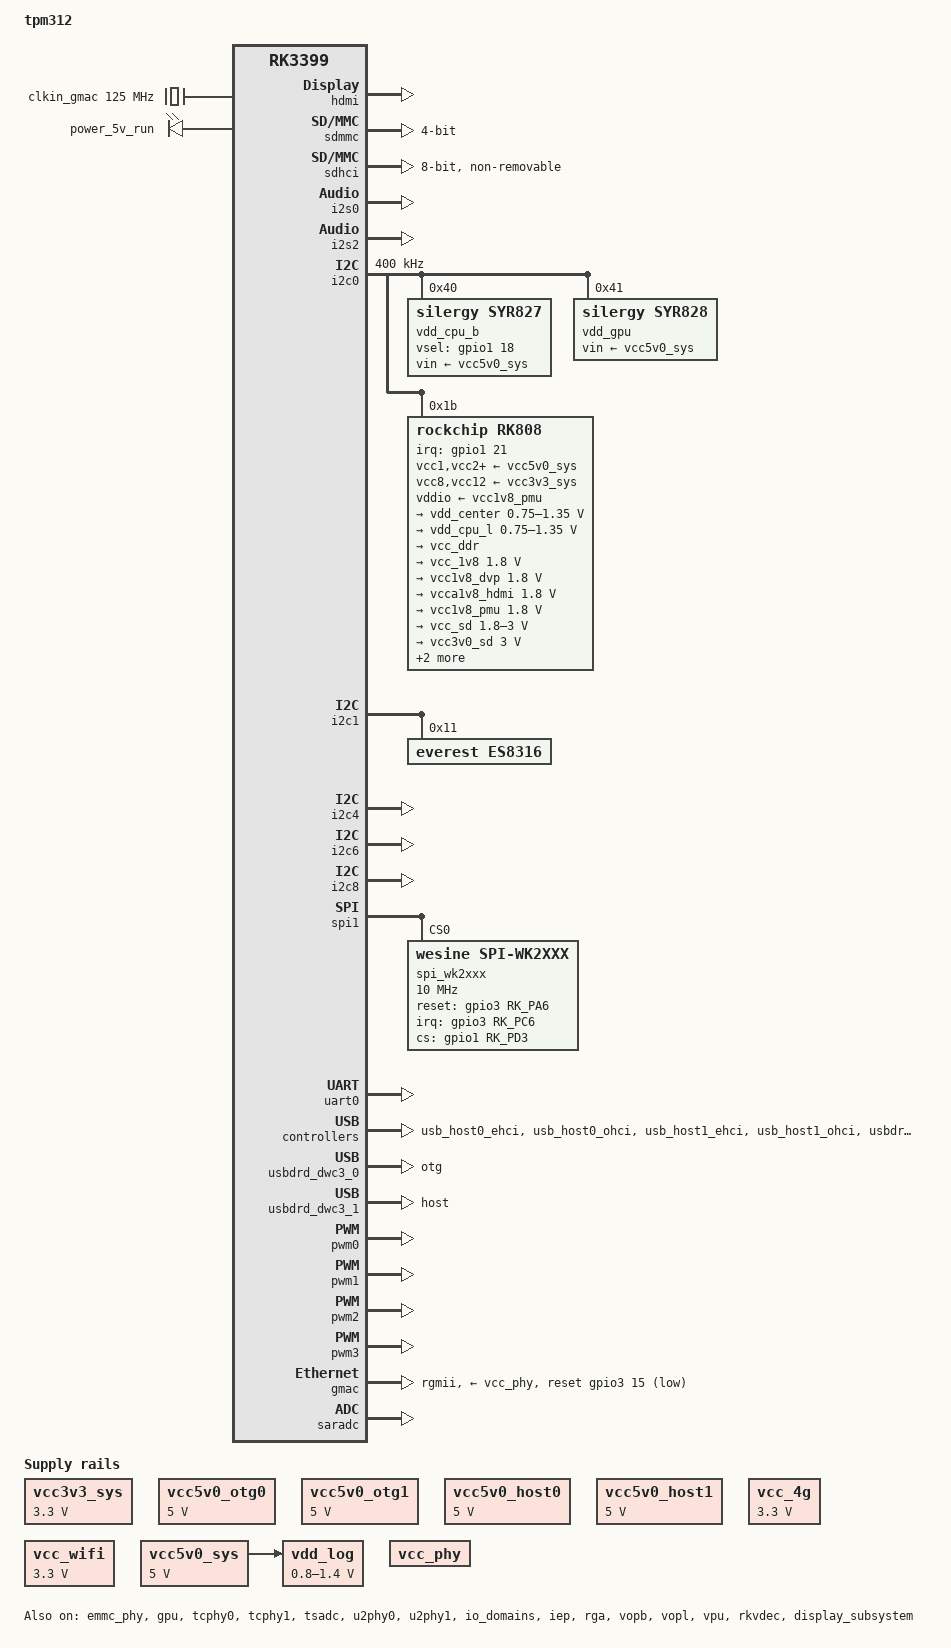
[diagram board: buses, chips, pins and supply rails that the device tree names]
/dts-v1/;

#include <dt-bindings/pwm/pwm.h>
#include <dt-bindings/input/input.h>
#include "rk3399.dtsi"
#include "rk3399-opp.dtsi"
#include "rk3399-vop-clk-set.dtsi"

/ {
	model = "tpm312";
	compatible = "rockchip,rk3399-w6-lvds","rockchip,rk3399";

	chosen {
		bootargs = "earlycon=uart8250,mmio32,0xff1a0000 swiotlb=1";
		stdout-path = "serial2:1500000n8";
	};

	reserved-memory {
		#address-cells = <2>;
		#size-cells = <2>;
		ranges;

		drm_logo: drm-logo@00000000 {
			compatible = "rockchip,drm-logo";
			reg = <0x0 0x0 0x0 0x0>;
		};
	};

	vcc3v3_sys: vcc3v3-sys {
		compatible = "regulator-fixed";
		regulator-name = "vcc3v3_sys";
		regulator-always-on;
		regulator-boot-on;
		regulator-min-microvolt = <3300000>;
		regulator-max-microvolt = <3300000>;
	};

	vcc5v0_otg0: vcc5v0-otg0-regulator {
		compatible = "regulator-fixed";
		enable-active-high;
		gpio = <0x30 0x00 0x00>;
		pinctrl-names = "default";
		pinctrl-0 = <&otg0_vbus_drv>;
		regulator-name = "vcc5v0_otg0";
		regulator-always-on;
		regulator-min-microvolt = <5000000>;
		regulator-max-microvolt = <5000000>;
	};

	vcc5v0_otg1: vcc5v0-otg1-regulator {
		compatible = "regulator-fixed";
		enable-active-high;
		gpio = <0x37 0x1d 0x00>;
		pinctrl-names = "default";
		pinctrl-0 = <&otg1_vbus_drv>;
		regulator-name = "vcc5v0_otg1";
		regulator-always-on;
		regulator-min-microvolt = <5000000>;
		regulator-max-microvolt = <5000000>;
	};

	vcc5v0_host0: vcc5v0-host0-regulator {
		compatible = "regulator-fixed";
		enable-active-high;
		gpio = <0x37 0x1a 0x00>;
		pinctrl-names = "default";
		pinctrl-0 = <&host0_vbus_drv>;
		regulator-name = "vcc5v0_host0";
		regulator-always-on;
		regulator-min-microvolt = <5000000>;
		regulator-max-microvolt = <5000000>;
	};

	vcc5v0_host1: vcc5v0-host1-regulator {
		compatible = "regulator-fixed";
		enable-active-high;
		gpio = <0x18 0x1e 0x00>;
		pinctrl-names = "default";
		pinctrl-0 = <&host1_vbus_drv>;
		regulator-name = "vcc5v0_host1";
		regulator-always-on;
		regulator-min-microvolt = <5000000>;
		regulator-max-microvolt = <5000000>;
	};

	vcc_4g: vcc-4g {
		compatible = "regulator-fixed";
		enable-active-high;
		gpio = <0xce 0x02 0x00>;
		pinctrl-names = "default";
		pinctrl-0 = <0xcf>;
		regulator-name = "vcc_4g";
		regulator-always-on;
		regulator-boot-on;
		regulator-min-microvolt = <3300000>;
		regulator-max-microvolt = <3300000>;
	};

	vcc_wifi: vcc-wifi {
		compatible = "regulator-fixed";
		enable-active-high;
		gpio = <0xce 0x03 0x00>;
		pinctrl-names = "default";
		pinctrl-0 = <0xd1>;
		regulator-name = "vcc_wifi";
		regulator-always-on;
		regulator-min-microvolt = <3300000>;
		regulator-max-microvolt = <3300000>;
	};

	vcc5v0_sys: vcc5v0-sys {
		compatible = "regulator-fixed";
		regulator-name = "vcc5v0_sys";
		regulator-always-on;
		regulator-boot-on;
		regulator-min-microvolt = <5000000>;
		regulator-max-microvolt = <5000000>;
	};

	vcc_phy: vcc-phy-regulator {
		compatible = "regulator-fixed";
		regulator-name = "vcc_phy";
		regulator-always-on;
		regulator-boot-on;
	};

	vdd_log: vdd-log {
		compatible = "pwm-regulator";
		pwms = <&pwm2 0 25000 1>;
		regulator-name = "vdd_log";
		regulator-min-microvolt = <800000>;
		regulator-max-microvolt = <1400000>;
		regulator-always-on;
		regulator-boot-on;

		/* for rockchip boot on */
		rockchip,pwm_id= <2>;
		rockchip,pwm_voltage = <900000>;
		vin-supply = <&vcc5v0_sys>;
	};

	clkin_gmac: external-gmac-clock {
		compatible = "fixed-clock";
		clock-frequency = <125000000>;
		clock-output-names = "clkin_gmac";
		#clock-cells = <0>;
	};

	es8316-sound {
		compatible = "simple-audio-card";
		simple-audio-card,format = "i2s";
		simple-audio-card,name = "rockchip,es8316-codec";
		simple-audio-card,mclk-fs = <256>;
		simple-audio-card,widgets =
			"Microphone", "Mic Jack",
			"Headphone", "Headphone Jack";
		simple-audio-card,routing =
			"Mic Jack", "MICBIAS1",
			"IN1P", "Mic Jack",
			"Headphone Jack", "HPOL",
			"Headphone Jack", "HPOR";
		simple-audio-card,cpu {
			sound-dai = <&i2s0>;
		};
		simple-audio-card,codec {
			sound-dai = <&es8316>;
		};
	};

	hdmi_codec: hdmi-codec {
		compatible = "simple-audio-card";
		simple-audio-card,format = "i2s";
		simple-audio-card,mclk-fs = <256>;
		simple-audio-card,name = "HDMI-CODEC";

		simple-audio-card,cpu {
			sound-dai = <&i2s2>;
		};

		simple-audio-card,codec {
			sound-dai = <&hdmi>;
		};
	};

	fiq-debugger {
		compatible = "rockchip,fiq-debugger";
		rockchip,serial-id = <0x02>;
		rockchip,wake-irq = <0x00>;
		rockchip,irq-mode-enable = <0x00>;
		rockchip,baudrate = <0x16e360>;
		pinctrl-names = "default";
		pinctrl-0 = <0x3f>;
		interrupts = <0x00 0x96 0x04 0x00>;
	};

	leds {
		compatible = "gpio-leds";
		power5v-led {
			gpios = <0x30 0x17 0x00>;
			default-state = "on";
			label = "power_5v_run";
		};
	};

	wesine-gpio {
		compatible = "wesine,rk3399-gpio";
		pinctrl-names = "default";
		pinctrl-0 = <0xc6 0xc7 0xc8>;
		usb1_en = <0x37 0x1c 0x00>;
		usb2_en = <0x30 0x03 0x00>;
		usb3_en = <0x37 0x1e 0x00>;
		usb4_en = <0x37 0x15 0x00>;
		usb5_en = <0x37 0x18 0x00>;
		usb6_en = <0x30 0x02 0x00>;
		wk2_rst = <0x83 0x12 0x01>;
		gprs_rst = <0x30 0x04 0x01>;
		status = "okay";
	};

	test-power {
		status = "okay";
	};

};

&hdmi {
	#address-cells = <1>;
	#size-cells = <0>;
	#sound-dai-cells = <0>;
	status = "okay";
};

&sdmmc {
	max-frequency = <150000000>;
	supports-sd;
	bus-width = <4>;
	cap-mmc-highspeed;
	cap-sd-highspeed;
	disable-wp;
	num-slots = <1>;
	vqmmc-supply = <&vcc_sd>;
	pinctrl-names = "default";
	pinctrl-0 = <&sdmmc_clk &sdmmc_cmd &sdmmc_cd &sdmmc_bus4>;
	status = "okay";
};

&emmc_phy {
	status = "okay";
};

&sdhci {
	bus-width = <8>;
	mmc-hs400-1_8v;
	supports-emmc;
	non-removable;
	mmc-hs400-enhanced-strobe;
	status = "okay";
};

&i2s0 {
	status = "okay";
	rockchip,i2s-broken-burst-len;
	rockchip,playback-channels = <8>;
	rockchip,capture-channels = <8>;
	#sound-dai-cells = <0>;
};

&i2s2 {
	status = "okay";
	#sound-dai-cells = <0>;
};

&i2c0 {
	status = "okay";
	i2c-scl-rising-time-ns = <168>;
	i2c-scl-falling-time-ns = <4>;
	clock-frequency = <400000>;

	vdd_cpu_b: syr827@40 {
		compatible = "silergy,syr827";
		reg = <0x40>;
		vin-supply = <&vcc5v0_sys>;
		regulator-compatible = "fan53555-reg";
		regulator-name = "vdd_cpu_b";
		regulator-min-microvolt = <712500>;
		regulator-max-microvolt = <1500000>;
		regulator-ramp-delay = <1000>;
		vsel-gpios = <&gpio1 18 GPIO_ACTIVE_HIGH>;
		fcs,suspend-voltage-selector = <1>;
		regulator-always-on;
		regulator-boot-on;
		regulator-initial-state = <3>;
			regulator-state-mem {
			regulator-off-in-suspend;
		};
	};

	vdd_gpu: syr828@41 {
		compatible = "silergy,syr828";
		reg = <0x41>;
		vin-supply = <&vcc5v0_sys>;
		regulator-compatible = "fan53555-reg";
		regulator-name = "vdd_gpu";
		regulator-min-microvolt = <712500>;
		regulator-max-microvolt = <1500000>;
		regulator-ramp-delay = <1000>;
		fcs,suspend-voltage-selector = <1>;
		regulator-always-on;
		regulator-boot-on;
		regulator-initial-state = <3>;
			regulator-state-mem {
			regulator-off-in-suspend;
		};
	};

	rk808: pmic@1b {
		compatible = "rockchip,rk808";
		reg = <0x1b>;
		interrupt-parent = <&gpio1>;
		interrupts = <21 IRQ_TYPE_LEVEL_LOW>;
		pinctrl-names = "default";
		pinctrl-0 = <&pmic_int_l>;
		rockchip,system-power-controller;
		wakeup-source;
		#clock-cells = <1>;
		clock-output-names = "xin32k", "rk808-clkout2";

		vcc1-supply = <&vcc5v0_sys>;
		vcc2-supply = <&vcc5v0_sys>;
		vcc3-supply = <&vcc5v0_sys>;
		vcc4-supply = <&vcc5v0_sys>;
		vcc6-supply = <&vcc5v0_sys>;
		vcc7-supply = <&vcc5v0_sys>;
		vcc8-supply = <&vcc3v3_sys>;
		vcc9-supply = <&vcc5v0_sys>;
		vcc10-supply = <&vcc5v0_sys>;
		vcc11-supply = <&vcc5v0_sys>;
		vcc12-supply = <&vcc3v3_sys>;
		vddio-supply = <&vcc1v8_pmu>;

		regulators {
			vdd_center: DCDC_REG1 {
				regulator-name = "vdd_center";
				regulator-min-microvolt = <750000>;
				regulator-max-microvolt = <1350000>;
				regulator-ramp-delay = <6001>;
				regulator-always-on;
				regulator-boot-on;
				regulator-state-mem {
					regulator-off-in-suspend;
				};
			};

			vdd_cpu_l: DCDC_REG2 {
				regulator-name = "vdd_cpu_l";
				regulator-min-microvolt = <750000>;
				regulator-max-microvolt = <1350000>;
				regulator-ramp-delay = <6001>;
				regulator-always-on;
				regulator-boot-on;
				regulator-state-mem {
					regulator-off-in-suspend;
				};
			};

			vcc_ddr: DCDC_REG3 {
				regulator-name = "vcc_ddr";
				regulator-always-on;
				regulator-boot-on;
				regulator-state-mem {
					regulator-on-in-suspend;
				};
			};

			vcc_1v8: DCDC_REG4 {
				regulator-name = "vcc_1v8";
				regulator-min-microvolt = <1800000>;
				regulator-max-microvolt = <1800000>;
				regulator-always-on;
				regulator-boot-on;
				regulator-state-mem {
					regulator-on-in-suspend;
					regulator-suspend-microvolt = <1800000>;
				};
			};

			vcc1v8_dvp: LDO_REG1 {
				regulator-name = "vcc1v8_codec";
				regulator-min-microvolt = <1800000>;
				regulator-max-microvolt = <1800000>;
				regulator-always-on;
				regulator-boot-on;
				regulator-state-mem {
					regulator-on-in-suspend;
					regulator-suspend-microvolt = <1800000>;
				};
			};

			vcca1v8_hdmi: LDO_REG2 {
				regulator-name = "vcca1v8_hdmi";
				regulator-min-microvolt = <1800000>;
				regulator-max-microvolt = <1800000>;
				regulator-always-on;
				regulator-boot-on;
				regulator-state-mem {
					regulator-on-in-suspend;
					regulator-suspend-microvolt = <1800000>;
				};
			};

			vcc1v8_pmu: LDO_REG3 {
				regulator-always-on;
				regulator-boot-on;
				regulator-min-microvolt = <1800000>;
				regulator-max-microvolt = <1800000>;
				regulator-name = "vcc1v8_pmu";
				regulator-state-mem {
					regulator-on-in-suspend;
					regulator-suspend-microvolt = <1800000>;
				};
			};

			vcc_sd: LDO_REG4 {
				regulator-name = "vcc_sd";
				regulator-min-microvolt = <1800000>;
				regulator-max-microvolt = <3000000>;
				regulator-always-on;
				regulator-boot-on;
				regulator-state-mem {
					regulator-on-in-suspend;
					regulator-suspend-microvolt = <3000000>;
				};
			};

			vcc3v0_sd: LDO_REG5 {
				regulator-name = "vcc3v0_sd";
				regulator-min-microvolt = <3000000>;
				regulator-max-microvolt = <3000000>;
				regulator-always-on;
				regulator-boot-on;
				regulator-state-mem {
					regulator-on-in-suspend;
					regulator-suspend-microvolt = <3000000>;
				};
			};

			vcc_1v5: LDO_REG6 {
				regulator-name = "vcc_1v5";
				regulator-min-microvolt = <1500000>;
				regulator-max-microvolt = <1500000>;
				regulator-always-on;
				regulator-boot-on;
				regulator-state-mem {
					regulator-on-in-suspend;
					regulator-suspend-microvolt = <1500000>;
				};
			};

			vcca0v9_hdmi: LDO_REG7 {
				regulator-name = "vcca0v9_hdmi";
				regulator-min-microvolt = <900000>;
				regulator-max-microvolt = <900000>;
				regulator-always-on;
				regulator-boot-on;
				regulator-state-mem {
					regulator-on-in-suspend;
					regulator-suspend-microvolt = <900000>;
				};
			};

			vcc_3v0: LDO_REG8 {
				regulator-name = "vcc_3v0";
				regulator-min-microvolt = <3000000>;
				regulator-max-microvolt = <3000000>;
				regulator-always-on;
				regulator-boot-on;
				regulator-state-mem {
					regulator-on-in-suspend;
					regulator-suspend-microvolt = <3000000>;
				};
			};

			vcc3v3_s3: SWITCH_REG1 {
				regulator-name = "vcc3v3_s3";
				regulator-always-on;
				regulator-boot-on;
				regulator-state-mem {
					regulator-on-in-suspend;
				};
			};

			vcc3v3_s0: SWITCH_REG2 {
				regulator-name = "vcc3v3_s0";
				regulator-always-on;
				regulator-boot-on;
				regulator-state-mem {
					regulator-on-in-suspend;
				};
			};
		};
	};
};

&i2c1 {
	status = "okay";
	i2c-scl-rising-time-ns = <300>;
	i2c-scl-falling-time-ns = <15>;

	es8316: es8316@11 {
		#sound-dai-cells = <0>;
		compatible = "everest,es8316";
		reg = <0x11>;
		clocks = <&cru SCLK_I2S_8CH_OUT>;
		clock-names = "mclk";
		pinctrl-names = "default";
		pinctrl-0 = <&i2s_8ch_mclk>;
	};

};

&i2c4 {
	status = "okay";
	i2c-scl-rising-time-ns = <600>;
	i2c-scl-falling-time-ns = <20>;

	mpu6050: mpu@68 {
	status = "disabled";
	compatible = "invensense,mpu6050";
	reg = <0x68>;
	mpu-int_config = <0x10>;
	mpu-level_shifter = <0>;
	mpu-orientation = <0 1 0 1 0 0 0 0 1>;
	orientation-x= <1>;
	orientation-y= <1>;
	orientation-z= <1>;
	irq-gpio = <&gpio1 10 IRQ_TYPE_LEVEL_LOW>;
	mpu-debug = <1>;
	};
};

&i2c6 {
	status = "okay";
};

&i2c8 {
	status = "okay";
};

&spi1 {
	status = "okay";
	max-freq = <48000000>;
	dev-port = <0>;
	pinctrl-0 = <0x4c>;
	num-cs = <1>;

	spi_wk2xxx: spi_wk2xxx@00{
		status = "okay";
		compatible = "wesine,spi-wk2xxx";
		reg = <0x00>;
		spi-max-frequency = <10000000>;
		//power-gpio = <&gpio2 4 GPIO_ACTIVE_HIGH>;
		reset-gpio = <&gpio3 RK_PA6 GPIO_ACTIVE_HIGH>;
		irq-gpio = <&gpio3 RK_PC6 IRQ_TYPE_EDGE_FALLING>;
		cs-gpio = <&gpio1 RK_PD3 GPIO_ACTIVE_HIGH>;

		//pinctrl-0 = <&reset_gpios>,<&irq_gpios>,<&cs_gpios>;
		//pinctrl-names = "default";
	};
};

&cpu_l0 {
	cpu-supply = <&vdd_cpu_l>;
};

&cpu_l1 {
	cpu-supply = <&vdd_cpu_l>;
};

&cpu_l2 {
	cpu-supply = <&vdd_cpu_l>;
};

&cpu_l3 {
	cpu-supply = <&vdd_cpu_l>;
};

&cpu_b0 {
	cpu-supply = <&vdd_cpu_b>;
};

&cpu_b1 {
	cpu-supply = <&vdd_cpu_b>;
};

&gpu {
	status = "okay";
	mali-supply = <&vdd_gpu>;
};

&tcphy0 {
	status = "okay";
};

&tcphy1 {
	status = "okay";
};

&tsadc {
	/* tshut mode 0:CRU 1:GPIO */
	rockchip,hw-tshut-mode = <1>;
	/* tshut polarity 0:LOW 1:HIGH */
	rockchip,hw-tshut-polarity = <1>;
	rockchip,hw-tshut-temp = <110000>;
	status = "okay";
};

&emmc_phy {
	status = "okay";
};

&u2phy0 {
	status = "okay";
	enable-active-high;
	/* otg-vbus-gpios = <&gpio1 3 GPIO_ACTIVE_HIGH>;*/
	gpio = <&gpio1 3 GPIO_ACTIVE_HIGH>;

	u2phy0_otg: otg-port {
		status = "okay";
	};

	u2phy0_host: host-port {
		phy-supply = <&vcc5v0_host0>;
		status = "okay";
	};
};

&u2phy1 {
	status = "okay";

	u2phy1_otg: otg-port {
		status = "okay";
	};

	u2phy1_host: host-port {
		phy-supply = <&vcc5v0_host1>;
		status = "okay";
	};
};

&uart0 {
	pinctrl-names = "default";
	pinctrl-0 = <&uart0_xfer>;
	status = "okay";
};

&usb_host0_ehci {
	status = "okay";
};

&usb_host0_ohci {
	status = "okay";
};

&usb_host1_ehci {
	status = "okay";
};

&usb_host1_ohci {
	status = "okay";
};

&usbdrd3_0 {
	extcon = <&u2phy0>;
	status = "okay";
};

&usbdrd_dwc3_0 {
	dr_mode = "otg";
	status = "okay";
};

&usbdrd3_1 {
	status = "okay";
};

&usbdrd_dwc3_1 {
	dr_mode = "host";
	status = "okay";
};

&pwm0 {
	status = "okay";
};

&pwm1 {
	status = "okay";
};

&pwm2 {
	status = "okay";
};

&pwm3 {
	status = "okay";
};

&gmac {
	phy-supply = <&vcc_phy>;
	phy-mode = "rgmii";
	clock_in_out = "input";
	snps,reset-gpio = <&gpio3 15 GPIO_ACTIVE_LOW>;
	snps,reset-active-low;
	snps,reset-delays-us = <0 10000 50000>;
	assigned-clocks = <&cru SCLK_RMII_SRC>;
	assigned-clock-parents = <&clkin_gmac>;
	pinctrl-names = "default";
	pinctrl-0 = <&rgmii_pins>;
	tx_delay = <0x28>;
	rx_delay = <0x11>;
	status = "okay";
};

&saradc {
	status = "okay";
};

&io_domains {
	status = "okay";

	bt656-supply = <&vcc_3v0>; /* bt656_gpio2ab_ms */
	audio-supply = <&vcc_3v0>; /* audio_gpio3d4a_ms */
	sdmmc-supply = <&vcc_sd>; /* sdmmc_gpio4b_ms */
	gpio1830-supply = <&vcc_3v0>; /* gpio1833_gpio4cd_ms */
};

&iep {
	status = "okay";
};

&iep_mmu {
	status = "okay";
};

&rga {
	dev_mode = <0x01>;
	status = "okay";
};

&pinctrl {
	pmic {

		pmic_int_l: pmic-int-l {
			rockchip,pins =
			    <1 21 RK_FUNC_GPIO &pcfg_pull_up>;
		};

		pmic_dvs2: pmic-dvs2 {
			rockchip,pins =
			    <1 4 RK_FUNC_GPIO &pcfg_pull_down>;
		};

		vcc5sys_gpio: vcc5sys-gpio {
			rockchip,pins =
			    <0x03 0x1d 0x00 0xc1>;
		};

		vcc_4g_gpio: vcc-4g-gpio {
			rockchip,pins =
			    <0x00 0x02 0x00 0xbf>;
		};
	};

	u2phy0_otg {

		otg0_vbus_drv: otg0-vbus-drv {
			rockchip,pins = <0x01 0x00 0x00 0xbf>;
		};
	};

	u2phy1_otg {

		otg1_vbus_drv: otg1-vbus-drv {
				rockchip,pins = <0x04 0x1d 0x00 0xbf>;
		};
	};

	u2phy0_host {

		host0_vbus_drv: host0-vbus-drv {
			rockchip,pins = <0x04 0x1a 0x00 0xbf>;
		};
	};

	u2phy1_host {

		host1_vbus_drv: host1-vbus-drv {
			rockchip,pins = <0x03 0x1e 0x00 0xbf>;
		};
	};

	i2s0 {
			i2s0-my-bus {
				rockchip,pins = <0x03 0x18 0x01 0xbf 0x03 0x19 0x01 0xbf 0x03 0x1a 0x01 0xbf 0x03 0x1b 0x01 0xbf 0x03 0x1f 0x01 0xbf>;
			};
		};

	wk2 {

		wk2-irq {
			rockchip,pins = <0x03 0x1c 0x00 0xbd>;
			};
	};

	wesine_gpio {

		wesine-pin1-gpio {
			rockchip,pins = <0x01 0x03 0x00 0xbf 0x01 0x02 0x00 0xbf 0x01 0x04 0x00 0xbf>;
		};

		wesine-pin2-gpio {
			rockchip,pins = <0x02 0x12 0x00 0xbf>;
		};

		wesine-pin4-gpio {
			rockchip,pins = <0x04 0x1c 0x00 0xbf 0x04 0x1e 0x00 0xbf 0x04 0x15 0x00 0xbf 0x04 0x18 0x00 0xbf>;
		};
	};

	wireless-wlan {

		wifi-pwr-gpio {
			rockchip,pins = <0x00 0x03 0x00 0xbf>;
			};
	};
};

&pmu_io_domains {
	status = "okay";
	pmu1830-supply = <&vcc_3v0>;
};

&rockchip_suspend {
	rockchip,power-ctrl =
		<&gpio1 18 GPIO_ACTIVE_LOW>,
		<&gpio1 14 GPIO_ACTIVE_HIGH>;
};

&vopb {
	status = "okay";
};

&vopb_mmu {
	status = "okay";
};

&vopl {
	status = "okay";
};

&vopl_mmu {
	status = "okay";
};

&vpu {
	status = "okay";
};

&rkvdec {
	status = "okay";
};

&display_subsystem {
	status = "okay";
};
